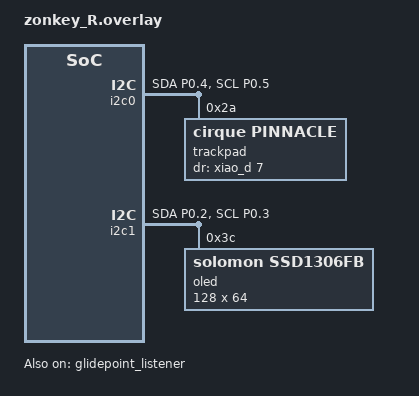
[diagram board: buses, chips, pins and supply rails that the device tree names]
#include "zonkey.dtsi"
#include <dt-bindings/zmk/input_transform.h>

/ {
    chosen {
        zephyr,display = &oled;
    };
};

&default_transform { col-offset = <6>; };

&kscan0 {
    col-gpios
        = <&xiao_d 10 GPIO_ACTIVE_HIGH>
        , <&gpio0 10 GPIO_ACTIVE_HIGH>
        , <&gpio0 9 GPIO_ACTIVE_HIGH>
        ;
};

&pinctrl {
    i2c0_default: i2c0_default {
        group1 {
            psels = <NRF_PSEL(TWIM_SDA, 0, 4)>, <NRF_PSEL(TWIM_SCL, 0, 5)>;
        };
    };
    i2c0_sleep: i2c0_sleep {
        group1 {
            psels = <NRF_PSEL(TWIM_SDA, 0, 4)>, <NRF_PSEL(TWIM_SCL, 0, 5)>;
            low-power-enable;
        };
    };
    i2c1_default: i2c1_default {
        group1 {
            psels = <NRF_PSEL(TWIM_SDA, 0, 2)>, <NRF_PSEL(TWIM_SCL, 0, 3)>;
            bias-pull-up;
        };
    };
    i2c1_sleep: i2c1_sleep {
        group1 {
            psels = <NRF_PSEL(TWIM_SDA, 0, 2)>, <NRF_PSEL(TWIM_SCL, 0, 3)>;
            low-power-enable;
        };
    };
};

&i2c0 {
    status = "okay";
    pinctrl-0 = <&i2c0_default>;
    pinctrl-1 = <&i2c0_sleep>;
    pinctrl-names = "default", "sleep";

    trackpad: trackpad@2a {
        compatible = "cirque,pinnacle";
        reg = <0x2a>;
        dr-gpios = <&xiao_d 7 (GPIO_ACTIVE_HIGH | GPIO_PULL_DOWN)>;
        sensitivity = "1x";
        sleep;
    };
};

&i2c1 {
    status = "okay";
    pinctrl-0 = <&i2c1_default>;
    pinctrl-1 = <&i2c1_sleep>;
    pinctrl-names = "default", "sleep";

    oled: ssd1306@3c {
        compatible = "solomon,ssd1306fb";
        reg = <0x3c>;
        width = <128>;
        height = <64>;
        segment-offset = <0>;
        page-offset = <0>;
        display-offset = <0>;
        multiplex-ratio = <63>;
        segment-remap;
        com-invdir;
        com-sequential;
        prechargep = <0x22>;
    };
};

&glidepoint_split { device = <&trackpad>; };
&glidepoint_listener { status = "okay"; };
